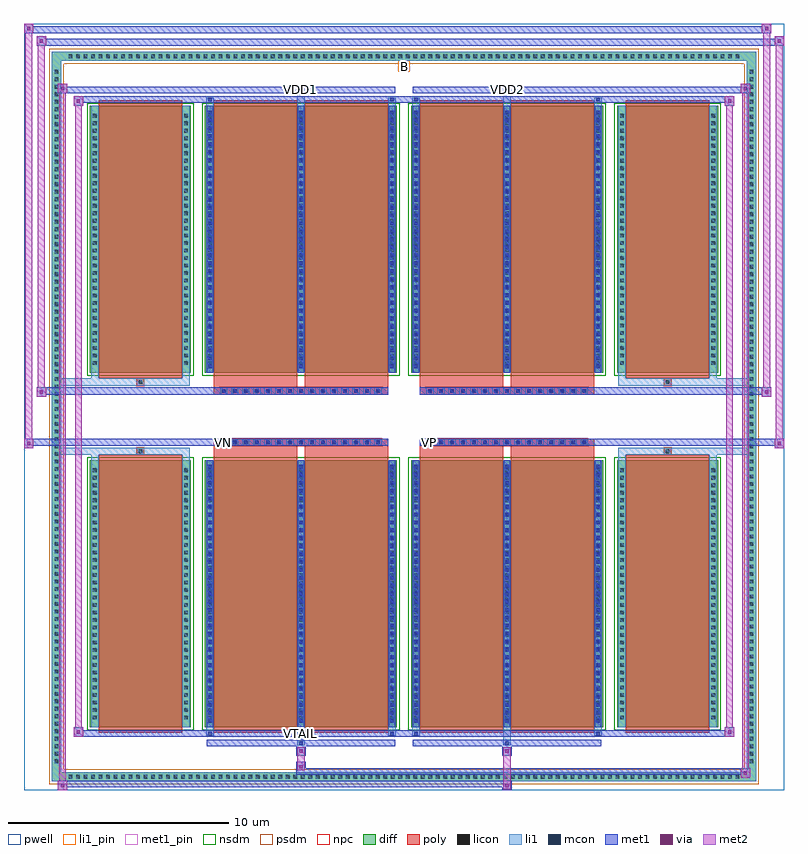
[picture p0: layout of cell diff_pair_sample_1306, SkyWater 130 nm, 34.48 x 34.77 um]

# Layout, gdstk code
import gdstk
lib = gdstk.Library(unit=1e-6, precision=5e-09)
def R(c, l, rs):  # rectangles x0, y0, x1, y1
    for r in rs: c.add(gdstk.rectangle(r[:2], r[2:], *l))
def A(c, l, x, y, w, h, nx, ny, dx, dy):  # array of equal rectangles
    R(c, l, [(x+i*dx, y+j*dy, x+i*dx+w, y+j*dy+h) for i in range(nx) for j in range(ny)])
def P(c, l, *ps):  # polygons
    for p in ps: c.add(gdstk.Polygon(p, *l))
pwell = (64, 44)
diff = (65, 20)
poly = (66, 20)
licon = (66, 44)
li1_pin = (67, 16)
li1 = (67, 20)
mcon = (67, 44)
met1_pin = (68, 16)
met1 = (68, 20)
via = (68, 44)
met2 = (69, 20)
nsdm = (93, 44)
psdm = (94, 20)
npc = (95, 20)

diff_pair_sample_1306 = lib.new_cell('diff_pair_sample_1306')
R(diff_pair_sample_1306, pwell, [(-17.24,-16.95,17.24,17.82), (-14.56,-15.14,-0.01,-0.8), (0.01,-15.14,14.56,-0.8), (-14.56,0.8,-0.01,15.14), (0.01,0.8,14.56,15.14)])
A(diff_pair_sample_1306, diff, -15.335, -16.55, 0.41, 0.41, 90, 2, 0.34, 32.69)
A(diff_pair_sample_1306, diff, -15.97, -15.845, 0.41, 0.41, 1, 93, 0, 0.34)
A(diff_pair_sample_1306, diff, 15.56, -15.845, 0.41, 0.41, 1, 93, 0, 0.34)
R(diff_pair_sample_1306, diff, [(-15.335,-16.55,15.335,-16.14), (-15.97,-15.845,-15.56,15.845), (15.56,-15.845,15.97,15.845), (-14.25,-14.095,-9.67,-1.985), (-9.03,-14.095,-0.32,-1.985), (0.32,-14.095,9.03,-1.985), (9.67,-14.095,14.25,-1.985), (-14.25,1.985,-9.67,14.095), (-9.03,1.985,-0.32,14.095), (0.32,1.985,9.03,14.095), (9.67,1.985,14.25,14.095), (-15.335,16.14,15.335,16.55)])
P(diff_pair_sample_1306, diff, [(15.97,16.55),(-15.97,16.55),(-15.97,-16.14),(-15.56,-16.14),(-15.56,16.14),(15.56,16.14),(15.56,-16.14),(-15.56,-16.14),(-15.97,-16.14),(-15.97,-16.55),(15.97,-16.55)])
A(diff_pair_sample_1306, poly, -8.34, -1.33, 0.33, 0.33, 15, 2, 0.5, 2.33)
A(diff_pair_sample_1306, poly, 1.01, -1.33, 0.33, 0.33, 15, 2, 0.5, 2.33)
R(diff_pair_sample_1306, poly, [(-13.86,-14.345,-10.06,-1.735), (-8.64,-14.345,-4.84,-1.735), (-4.51,-14.345,-0.71,-1.735), (0.71,-14.345,4.51,-1.735), (4.84,-14.345,8.64,-1.735), (10.06,-14.345,13.86,-1.735), (-12.125,-1.735,-11.795,-1.405), (-12.125,-1.735,-11.795,-1.405), (-8.64,-1.735,-4.84,-1.33), (-4.51,-1.735,-0.71,-1.33), (0.71,-1.735,4.51,-1.33), (4.84,-1.735,8.64,-1.33), (11.795,-1.735,12.125,-1.405), (11.795,-1.735,12.125,-1.405), (-8.64,-1.33,-0.71,-1), (0.71,-1.33,8.64,-1), (-8.64,1,-0.71,1.33), (0.71,1,8.64,1.33), (-8.64,1.33,-4.84,1.735), (-4.51,1.33,-0.71,1.735), (0.71,1.33,4.51,1.735), (4.84,1.33,8.64,1.735), (-12.125,1.405,-11.795,1.735), (-12.125,1.405,-11.795,1.735), (11.795,1.405,12.125,1.735), (11.795,1.405,12.125,1.735), (-13.86,1.735,-10.06,14.345), (-8.64,1.735,-4.84,14.345), (-4.51,1.735,-0.71,14.345), (0.71,1.735,4.51,14.345), (4.84,1.735,8.64,14.345), (10.06,1.735,13.86,14.345)])
A(diff_pair_sample_1306, licon, -15.215, -16.43, 0.17, 0.17, 90, 2, 0.34, 32.69)
A(diff_pair_sample_1306, licon, -15.85, -15.725, 0.17, 0.17, 1, 93, 0, 0.34)
A(diff_pair_sample_1306, licon, 15.68, -15.725, 0.17, 0.17, 1, 93, 0, 0.34)
A(diff_pair_sample_1306, licon, -14.11, -13.735, 0.17, 0.17, 1, 34, 0, 0.34)
A(diff_pair_sample_1306, licon, -9.98, -13.735, 0.17, 0.17, 1, 34, 0, 0.34)
A(diff_pair_sample_1306, licon, -8.89, -13.735, 0.17, 0.17, 3, 34, 4.13, 0.34)
A(diff_pair_sample_1306, licon, 0.46, -13.735, 0.17, 0.17, 3, 34, 4.13, 0.34)
A(diff_pair_sample_1306, licon, 9.81, -13.735, 0.17, 0.17, 1, 34, 0, 0.34)
A(diff_pair_sample_1306, licon, 13.94, -13.735, 0.17, 0.17, 1, 34, 0, 0.34)
A(diff_pair_sample_1306, licon, -8.26, -1.25, 0.17, 0.17, 15, 2, 0.5, 2.33)
A(diff_pair_sample_1306, licon, 1.09, -1.25, 0.17, 0.17, 15, 2, 0.5, 2.33)
A(diff_pair_sample_1306, licon, -14.11, 2.345, 0.17, 0.17, 1, 34, 0, 0.34)
A(diff_pair_sample_1306, licon, -9.98, 2.345, 0.17, 0.17, 1, 34, 0, 0.34)
A(diff_pair_sample_1306, licon, -8.89, 2.345, 0.17, 0.17, 3, 34, 4.13, 0.34)
A(diff_pair_sample_1306, licon, 0.46, 2.345, 0.17, 0.17, 3, 34, 4.13, 0.34)
A(diff_pair_sample_1306, licon, 9.81, 2.345, 0.17, 0.17, 1, 34, 0, 0.34)
A(diff_pair_sample_1306, licon, 13.94, 2.345, 0.17, 0.17, 1, 34, 0, 0.34)
R(diff_pair_sample_1306, licon, [(-12.045,-1.655,-11.875,-1.485), (11.875,-1.655,12.045,-1.485), (-12.045,1.485,-11.875,1.655), (11.875,1.485,12.045,1.655)])
R(diff_pair_sample_1306, li1_pin, [(-0.25,15.64,0.25,16.14)])
A(diff_pair_sample_1306, li1, -15.295, -16.51, 0.33, 0.33, 90, 2, 0.34, 32.69)
A(diff_pair_sample_1306, li1, -15.93, -15.805, 0.33, 0.33, 1, 93, 0, 0.34)
A(diff_pair_sample_1306, li1, 15.6, -15.805, 0.33, 0.33, 1, 93, 0, 0.34)
A(diff_pair_sample_1306, li1, -8.97, -14.095, 0.33, 12.11, 3, 2, 4.13, 16.08)
A(diff_pair_sample_1306, li1, 0.38, -14.095, 0.33, 12.11, 3, 2, 4.13, 16.08)
A(diff_pair_sample_1306, li1, -8.89, -13.885, 0.17, 0.17, 3, 33, 4.13, 0.36)
A(diff_pair_sample_1306, li1, -8.89, -13.885, 0.17, 11.69, 3, 2, 4.13, 16.08)
A(diff_pair_sample_1306, li1, 0.46, -13.885, 0.17, 0.17, 3, 33, 4.13, 0.36)
A(diff_pair_sample_1306, li1, 0.46, -13.885, 0.17, 11.69, 3, 2, 4.13, 16.08)
A(diff_pair_sample_1306, li1, -14.19, -13.815, 0.33, 0.33, 1, 34, 0, 0.34)
A(diff_pair_sample_1306, li1, -10.06, -13.815, 0.33, 0.33, 1, 34, 0, 0.34)
A(diff_pair_sample_1306, li1, -8.97, -13.815, 0.33, 0.33, 3, 34, 4.13, 0.34)
A(diff_pair_sample_1306, li1, 0.38, -13.815, 0.33, 0.33, 3, 34, 4.13, 0.34)
A(diff_pair_sample_1306, li1, 9.73, -13.815, 0.33, 0.33, 1, 34, 0, 0.34)
A(diff_pair_sample_1306, li1, 13.86, -13.815, 0.33, 0.33, 1, 34, 0, 0.34)
A(diff_pair_sample_1306, li1, -8.34, -1.33, 0.33, 0.33, 15, 2, 0.5, 2.33)
A(diff_pair_sample_1306, li1, 1.01, -1.33, 0.33, 0.33, 15, 2, 0.5, 2.33)
A(diff_pair_sample_1306, li1, -8.89, 2.195, 0.17, 0.17, 3, 33, 4.13, 0.36)
A(diff_pair_sample_1306, li1, 0.46, 2.195, 0.17, 0.17, 3, 33, 4.13, 0.36)
A(diff_pair_sample_1306, li1, -14.19, 2.265, 0.33, 0.33, 1, 34, 0, 0.34)
A(diff_pair_sample_1306, li1, -10.06, 2.265, 0.33, 0.33, 1, 34, 0, 0.34)
A(diff_pair_sample_1306, li1, -8.97, 2.265, 0.33, 0.33, 3, 34, 4.13, 0.34)
A(diff_pair_sample_1306, li1, 0.38, 2.265, 0.33, 0.33, 3, 34, 4.13, 0.34)
A(diff_pair_sample_1306, li1, 9.73, 2.265, 0.33, 0.33, 1, 34, 0, 0.34)
A(diff_pair_sample_1306, li1, 13.86, 2.265, 0.33, 0.33, 1, 34, 0, 0.34)
R(diff_pair_sample_1306, li1, [(-15.97,-16.55,-15.56,-16.14), (-15.97,-16.55,-15.56,-16.14), (-15.56,-16.55,15.56,-16.14), (15.56,-16.55,15.97,-16.14), (15.56,-16.55,15.97,-16.14), (-15.97,-16.14,-15.56,16.14), (15.56,-16.14,15.97,16.14), (-4.84,-14.9,-4.51,-14.095), (-4.76,-14.9,-4.59,-14.73), (4.51,-14.9,4.84,-14.095), (4.59,-14.9,4.76,-14.73), (-8.97,-14.47,-8.64,-14.095), (-8.89,-14.47,-8.72,-14.3), (-0.71,-14.47,-0.38,-14.095), (-0.63,-14.47,-0.46,-14.3), (0.38,-14.47,0.71,-14.095), (0.46,-14.47,0.63,-14.3), (8.64,-14.47,8.97,-14.095), (8.72,-14.47,8.89,-14.3), (-14.19,-14.095,-13.86,-1.985), (-10.06,-14.095,-9.73,-1.985), (9.73,-14.095,10.06,-1.985), (13.86,-14.095,14.19,-1.985), (-14.19,-1.985,-13.86,-1.405), (-10.06,-1.985,-9.73,-1.405), (9.73,-1.985,10.06,-1.405), (13.86,-1.985,14.19,-1.405), (-15.97,-1.735,-12.125,-1.405), (-14.19,-1.735,-12.125,-1.405), (-12.125,-1.735,-11.795,-1.405), (-11.795,-1.735,-9.73,-1.405), (9.73,-1.735,11.795,-1.405), (11.795,-1.735,12.125,-1.405), (11.795,-1.735,15.97,-1.405), (12.125,-1.735,14.19,-1.405), (-15.97,1.405,-12.125,1.735), (-14.19,1.405,-12.125,1.735), (-14.19,1.405,-13.86,1.985), (-12.125,1.405,-11.795,1.735), (-11.795,1.405,-9.73,1.735), (-10.06,1.405,-9.73,1.985), (9.73,1.405,11.795,1.735), (9.73,1.405,10.06,1.985), (11.795,1.405,12.125,1.735), (11.795,1.405,15.97,1.735), (12.125,1.405,14.19,1.735), (13.86,1.405,14.19,1.985), (-14.19,1.985,-13.86,14.095), (-10.06,1.985,-9.73,14.095), (9.73,1.985,10.06,14.095), (13.86,1.985,14.19,14.095), (-8.97,14.095,-8.64,14.47), (-4.84,14.095,-4.51,14.9), (-0.71,14.095,-0.38,14.47), (0.38,14.095,0.71,14.47), (4.51,14.095,4.84,14.9), (8.64,14.095,8.97,14.47), (-8.89,14.3,-8.72,14.47), (-0.63,14.3,-0.46,14.47), (0.46,14.3,0.63,14.47), (8.72,14.3,8.89,14.47), (-4.76,14.73,-4.59,14.9), (4.59,14.73,4.76,14.9), (-15.97,16.14,-15.56,16.55), (-15.97,16.14,-15.56,16.55), (-15.56,16.14,15.56,16.55), (15.56,16.14,15.97,16.55), (15.56,16.14,15.97,16.55)])
A(diff_pair_sample_1306, mcon, -8.89, -13.885, 0.17, 0.17, 3, 33, 4.13, 0.36)
A(diff_pair_sample_1306, mcon, 0.46, -13.885, 0.17, 0.17, 3, 33, 4.13, 0.36)
A(diff_pair_sample_1306, mcon, -8.26, -1.25, 0.17, 0.17, 15, 2, 0.5, 2.33)
A(diff_pair_sample_1306, mcon, 1.09, -1.25, 0.17, 0.17, 15, 2, 0.5, 2.33)
A(diff_pair_sample_1306, mcon, -8.89, 2.195, 0.17, 0.17, 3, 33, 4.13, 0.36)
A(diff_pair_sample_1306, mcon, 0.46, 2.195, 0.17, 0.17, 3, 33, 4.13, 0.36)
R(diff_pair_sample_1306, mcon, [(-4.76,-14.9,-4.59,-14.73), (4.59,-14.9,4.76,-14.73), (-8.89,-14.47,-8.72,-14.3), (-0.63,-14.47,-0.46,-14.3), (0.46,-14.47,0.63,-14.3), (8.72,-14.47,8.89,-14.3), (-8.89,14.3,-8.72,14.47), (-0.63,14.3,-0.46,14.47), (0.46,14.3,0.63,14.47), (8.72,14.3,8.89,14.47), (-4.76,14.73,-4.59,14.9), (4.59,14.73,4.76,14.9)])
R(diff_pair_sample_1306, met1_pin, [(-4.81,-14.51,-4.54,-14.24), (-8.31,-1.29,-8.04,-1.02), (1.04,-1.29,1.31,-1.02), (-4.81,14.69,-4.54,14.96), (4.54,14.69,4.81,14.96)])
A(diff_pair_sample_1306, met1, -8.95, -14.095, 0.29, 12.11, 3, 2, 4.13, 16.08)
A(diff_pair_sample_1306, met1, 0.4, -14.095, 0.29, 12.11, 3, 2, 4.13, 16.08)
A(diff_pair_sample_1306, met1, -8.95, -13.945, 0.29, 0.29, 3, 33, 4.13, 0.36)
A(diff_pair_sample_1306, met1, 0.4, -13.945, 0.29, 0.29, 3, 33, 4.13, 0.36)
A(diff_pair_sample_1306, met1, -8.32, -1.31, 0.29, 0.29, 15, 2, 0.5, 2.33)
A(diff_pair_sample_1306, met1, 1.03, -1.31, 0.29, 0.29, 15, 2, 0.5, 2.33)
A(diff_pair_sample_1306, met1, -8.95, 2.135, 0.29, 0.29, 3, 33, 4.13, 0.36)
A(diff_pair_sample_1306, met1, 0.4, 2.135, 0.29, 0.29, 3, 33, 4.13, 0.36)
R(diff_pair_sample_1306, met1, [(-15.7,-16.95,-15.27,-16.52), (4.46,-16.95,4.89,-16.52), (-15.7,-16.81,4.89,-16.52), (15.27,-16.38,15.7,-15.95), (-4.89,-16.24,15.7,-15.95), (-4.89,-16.1,-4.46,-15.67), (-4.89,-15.39,-4.46,-14.96), (4.46,-15.39,4.89,-14.96), (-8.95,-14.96,-0.4,-14.67), (-4.82,-14.96,-4.53,-14.67), (0.4,-14.96,8.95,-14.67), (4.53,-14.96,4.82,-14.67), (-14.99,-14.53,-14.56,-14.1), (-14.99,-14.53,-8.95,-14.24), (-8.95,-14.53,-8.66,-14.24), (-8.95,-14.53,-0.4,-14.24), (-0.69,-14.53,-0.4,-14.24), (-0.4,-14.53,0.4,-14.24), (0.4,-14.53,0.69,-14.24), (0.4,-14.53,8.95,-14.24), (8.66,-14.53,8.95,-14.24), (8.95,-14.53,14.99,-14.24), (14.56,-14.53,14.99,-14.1), (-17.24,-1.43,-16.81,-1), (16.81,-1.43,17.24,-1), (-17.24,-1.33,-0.71,-1), (-8.64,-1.33,-0.71,-1), (0.71,-1.33,8.64,-1), (0.71,-1.33,17.24,-1), (-16.67,0.9,-16.24,1.33), (16.24,0.9,16.67,1.33), (-16.67,1,-8.64,1.33), (-8.64,1,-0.71,1.33), (0.71,1,8.64,1.33), (8.64,1,16.67,1.33), (-14.99,14.1,-14.56,14.53), (14.56,14.1,14.99,14.53), (-14.99,14.24,-8.95,14.53), (-8.95,14.24,-8.66,14.53), (-8.95,14.24,-0.4,14.53), (-0.69,14.24,-0.4,14.53), (-0.4,14.24,0.4,14.53), (0.4,14.24,0.69,14.53), (0.4,14.24,8.95,14.53), (8.66,14.24,8.95,14.53), (8.95,14.24,14.99,14.53), (-15.7,14.67,-15.27,15.1), (-15.7,14.67,-8.95,14.96), (-8.95,14.67,-0.4,14.96), (-4.82,14.67,-4.53,14.96), (0.4,14.67,8.95,14.96), (4.53,14.67,4.82,14.96), (8.95,14.67,15.7,14.96), (15.27,14.67,15.7,15.1), (-16.67,16.82,-16.24,17.25), (-16.67,16.82,-14.56,17.15), (-14.56,16.82,14.56,17.15), (14.56,16.82,17.24,17.15), (16.81,16.82,17.24,17.25), (-17.24,17.39,-16.81,17.82), (-17.24,17.39,-14.56,17.72), (-14.56,17.39,14.56,17.72), (14.56,17.39,16.67,17.72), (16.24,17.39,16.67,17.82)])
R(diff_pair_sample_1306, via, [(-15.56,-16.81,-15.41,-16.66), (4.6,-16.81,4.75,-16.66), (15.41,-16.24,15.56,-16.09), (-4.75,-15.96,-4.6,-15.81), (-4.75,-15.25,-4.6,-15.1), (4.6,-15.25,4.75,-15.1), (-14.85,-14.39,-14.7,-14.24), (14.7,-14.39,14.85,-14.24), (-17.1,-1.29,-16.95,-1.14), (16.95,-1.29,17.1,-1.14), (-16.53,1.04,-16.38,1.19), (16.38,1.04,16.53,1.19), (-14.85,14.24,-14.7,14.39), (14.7,14.24,14.85,14.39), (-15.56,14.81,-15.41,14.96), (15.41,14.81,15.56,14.96), (-16.53,16.96,-16.38,17.11), (16.95,16.96,17.1,17.11), (-17.1,17.53,-16.95,17.68), (16.38,17.53,16.53,17.68)])
R(diff_pair_sample_1306, met2, [(-15.7,-16.95,-15.27,-16.52), (-15.63,-16.95,-15.34,15.1), (-15.34,-16.95,-15.27,-16.52), (-15.65,-16.9,-15.32,-16.57), (4.51,-16.9,4.84,-16.57), (4.51,-16.57,4.84,-15.34), (15.27,-16.38,15.7,-15.95), (15.34,-16.38,15.63,15.1), (15.63,-16.38,15.7,-15.95), (15.32,-16.33,15.65,-16), (-4.84,-16.05,-4.51,-15.72), (-4.84,-15.72,-4.51,-15.34), (-4.84,-15.34,-4.51,-15.01), (4.51,-15.34,4.84,-15.01), (-14.99,-14.53,-14.56,-14.1), (-14.92,-14.53,-14.63,14.53), (-14.63,-14.53,-14.56,-14.1), (14.56,-14.53,14.99,-14.1), (14.63,-14.53,14.92,14.53), (14.92,-14.53,14.99,-14.1), (-14.94,-14.48,-14.61,-14.15), (14.61,-14.48,14.94,-14.15), (-17.24,-1.43,-16.81,-1), (-17.19,-1.43,-16.86,17.82), (-16.86,-1.43,-16.81,-1), (16.81,-1.43,17.24,-1), (16.86,-1.43,17.19,17.25), (17.19,-1.43,17.24,-1), (-17.19,-1.38,-16.86,-1.05), (16.86,-1.38,17.19,-1.05), (-16.67,0.9,-16.24,1.33), (-16.62,0.9,-16.29,17.25), (-16.29,0.9,-16.24,1.33), (16.24,0.9,16.67,1.33), (16.29,0.9,16.62,17.82), (16.62,0.9,16.67,1.33), (-16.62,0.95,-16.29,1.28), (16.29,0.95,16.62,1.28), (-14.99,14.1,-14.56,14.53), (-14.63,14.1,-14.56,14.53), (14.56,14.1,14.99,14.53), (14.92,14.1,14.99,14.53), (-14.94,14.15,-14.61,14.48), (14.61,14.15,14.94,14.48), (-15.7,14.67,-15.27,15.1), (-15.34,14.67,-15.27,15.1), (15.27,14.67,15.7,15.1), (15.63,14.67,15.7,15.1), (-15.65,14.72,-15.32,15.05), (15.32,14.72,15.65,15.05), (-16.67,16.82,-16.24,17.25), (-16.29,16.82,-16.24,17.25), (16.81,16.82,17.24,17.25), (17.19,16.82,17.24,17.25), (-16.62,16.87,-16.29,17.2), (16.86,16.87,17.19,17.2), (-17.24,17.39,-16.81,17.82), (-16.86,17.39,-16.81,17.82), (16.24,17.39,16.67,17.82), (16.62,17.39,16.67,17.82), (-17.19,17.44,-16.86,17.77), (16.29,17.44,16.62,17.77)])
R(diff_pair_sample_1306, nsdm, [(-14.38,-14.225,-9.54,-1.855), (-9.16,-14.225,-0.19,-1.855), (0.19,-14.225,9.16,-1.855), (9.54,-14.225,14.38,-1.855), (-14.38,1.855,-9.54,14.225), (-9.16,1.855,-0.19,14.225), (0.19,1.855,9.16,14.225), (9.54,1.855,14.38,14.225)])
P(diff_pair_sample_1306, psdm, [(16.1,16.68),(-16.1,16.68),(-16.1,-16.01),(-15.43,-16.01),(-15.43,16.01),(15.43,16.01),(15.43,-16.01),(-15.43,-16.01),(-16.1,-16.01),(-16.1,-16.68),(16.1,-16.68)])
A(diff_pair_sample_1306, npc, -8.36, -1.35, 0.37, 0.37, 15, 2, 0.5, 2.33)
A(diff_pair_sample_1306, npc, 0.99, -1.35, 0.37, 0.37, 15, 2, 0.5, 2.33)
R(diff_pair_sample_1306, npc, [(-12.145,-1.755,-11.775,-1.385), (11.775,-1.755,12.145,-1.385), (-8.36,-1.35,-7.49,-0.98), (-8.36,-1.35,-7.49,-0.98), (-7.86,-1.35,-6.99,-0.98), (-7.86,-1.35,-6.99,-0.98), (-7.36,-1.35,-6.49,-0.98), (-7.36,-1.35,-6.49,-0.98), (-6.86,-1.35,-5.99,-0.98), (-6.86,-1.35,-5.99,-0.98), (-6.36,-1.35,-5.49,-0.98), (-6.36,-1.35,-5.49,-0.98), (-5.86,-1.35,-4.99,-0.98), (-5.86,-1.35,-4.99,-0.98), (-5.36,-1.35,-4.49,-0.98), (-5.36,-1.35,-4.49,-0.98), (-4.86,-1.35,-3.99,-0.98), (-4.86,-1.35,-3.99,-0.98), (-4.36,-1.35,-3.49,-0.98), (-4.36,-1.35,-3.49,-0.98), (-3.86,-1.35,-2.99,-0.98), (-3.86,-1.35,-2.99,-0.98), (-3.36,-1.35,-2.49,-0.98), (-3.36,-1.35,-2.49,-0.98), (-2.86,-1.35,-1.99,-0.98), (-2.86,-1.35,-1.99,-0.98), (-2.36,-1.35,-1.49,-0.98), (-2.36,-1.35,-1.49,-0.98), (-1.86,-1.35,-0.99,-0.98), (-1.86,-1.35,-0.99,-0.98), (0.99,-1.35,1.86,-0.98), (0.99,-1.35,1.86,-0.98), (1.49,-1.35,2.36,-0.98), (1.49,-1.35,2.36,-0.98), (1.99,-1.35,2.86,-0.98), (1.99,-1.35,2.86,-0.98), (2.49,-1.35,3.36,-0.98), (2.49,-1.35,3.36,-0.98), (2.99,-1.35,3.86,-0.98), (2.99,-1.35,3.86,-0.98), (3.49,-1.35,4.36,-0.98), (3.49,-1.35,4.36,-0.98), (3.99,-1.35,4.86,-0.98), (3.99,-1.35,4.86,-0.98), (4.49,-1.35,5.36,-0.98), (4.49,-1.35,5.36,-0.98), (4.99,-1.35,5.86,-0.98), (4.99,-1.35,5.86,-0.98), (5.49,-1.35,6.36,-0.98), (5.49,-1.35,6.36,-0.98), (5.99,-1.35,6.86,-0.98), (5.99,-1.35,6.86,-0.98), (6.49,-1.35,7.36,-0.98), (6.49,-1.35,7.36,-0.98), (6.99,-1.35,7.86,-0.98), (6.99,-1.35,7.86,-0.98), (7.49,-1.35,8.36,-0.98), (7.49,-1.35,8.36,-0.98), (-8.36,0.98,-7.49,1.35), (-8.36,0.98,-7.49,1.35), (-7.86,0.98,-6.99,1.35), (-7.86,0.98,-6.99,1.35), (-7.36,0.98,-6.49,1.35), (-7.36,0.98,-6.49,1.35), (-6.86,0.98,-5.99,1.35), (-6.86,0.98,-5.99,1.35), (-6.36,0.98,-5.49,1.35), (-6.36,0.98,-5.49,1.35), (-5.86,0.98,-4.99,1.35), (-5.86,0.98,-4.99,1.35), (-5.36,0.98,-4.49,1.35), (-5.36,0.98,-4.49,1.35), (-4.86,0.98,-3.99,1.35), (-4.86,0.98,-3.99,1.35), (-4.36,0.98,-3.49,1.35), (-4.36,0.98,-3.49,1.35), (-3.86,0.98,-2.99,1.35), (-3.86,0.98,-2.99,1.35), (-3.36,0.98,-2.49,1.35), (-3.36,0.98,-2.49,1.35), (-2.86,0.98,-1.99,1.35), (-2.86,0.98,-1.99,1.35), (-2.36,0.98,-1.49,1.35), (-2.36,0.98,-1.49,1.35), (-1.86,0.98,-0.99,1.35), (-1.86,0.98,-0.99,1.35), (0.99,0.98,1.86,1.35), (0.99,0.98,1.86,1.35), (1.49,0.98,2.36,1.35), (1.49,0.98,2.36,1.35), (1.99,0.98,2.86,1.35), (1.99,0.98,2.86,1.35), (2.49,0.98,3.36,1.35), (2.49,0.98,3.36,1.35), (2.99,0.98,3.86,1.35), (2.99,0.98,3.86,1.35), (3.49,0.98,4.36,1.35), (3.49,0.98,4.36,1.35), (3.99,0.98,4.86,1.35), (3.99,0.98,4.86,1.35), (4.49,0.98,5.36,1.35), (4.49,0.98,5.36,1.35), (4.99,0.98,5.86,1.35), (4.99,0.98,5.86,1.35), (5.49,0.98,6.36,1.35), (5.49,0.98,6.36,1.35), (5.99,0.98,6.86,1.35), (5.99,0.98,6.86,1.35), (6.49,0.98,7.36,1.35), (6.49,0.98,7.36,1.35), (6.99,0.98,7.86,1.35), (6.99,0.98,7.86,1.35), (7.49,0.98,8.36,1.35), (7.49,0.98,8.36,1.35), (-12.145,1.385,-11.775,1.755), (11.775,1.385,12.145,1.755)])
diff_pair_sample_1306.add(gdstk.Label('VTAIL', (-4.675,-14.375), layer=68, texttype=5))
diff_pair_sample_1306.add(gdstk.Label('VN', (-8.175,-1.155), layer=68, texttype=5))
diff_pair_sample_1306.add(gdstk.Label('VP', (1.175,-1.155), layer=68, texttype=5))
diff_pair_sample_1306.add(gdstk.Label('B', (0,15.89), layer=67, texttype=5))
diff_pair_sample_1306.add(gdstk.Label('VDD2', (4.675,14.825), layer=68, texttype=5))
diff_pair_sample_1306.add(gdstk.Label('VDD1', (-4.675,14.825), layer=68, texttype=5))

lib.write_gds('diff_pair_sample_1306.gds')
